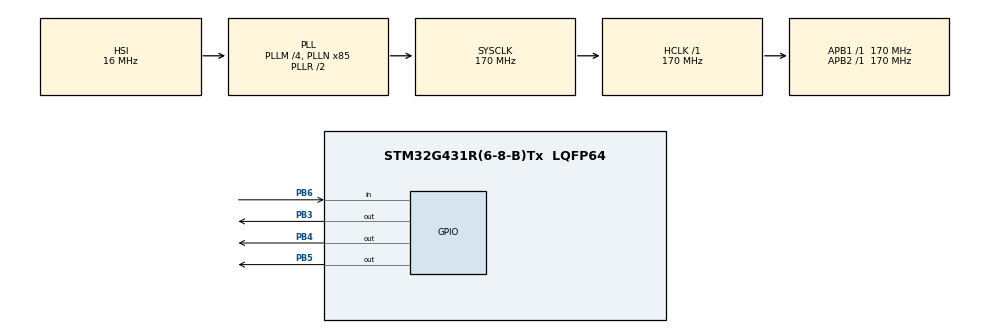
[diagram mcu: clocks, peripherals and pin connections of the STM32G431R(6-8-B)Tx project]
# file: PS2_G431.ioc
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Mcu.Family=STM32G4
Mcu.Name=STM32G431R(6-8-B)Tx
Mcu.Package=LQFP64
NVIC.PriorityGroup=NVIC_PRIORITYGROUP_4
PA13.Mode=Serial_Wire
PA13.Signal=SYS_JTMS-SWDIO
PA14.Mode=Serial_Wire
PA14.Signal=SYS_JTCK-SWCLK
PB3.Signal=GPIO_Output
PB4.Signal=GPIO_Output
PB5.Signal=GPIO_Output
PB6.GPIO_PuPd=GPIO_PULLUP
PB6.Signal=GPIO_Input
PF0-OSC_IN.Mode=HSE-External-Oscillator
PF0-OSC_IN.Signal=RCC_OSC_IN
PF1-OSC_OUT.Mode=HSE-External-Oscillator
PF1-OSC_OUT.Signal=RCC_OSC_OUT
ProjectManager.HeapSize=0x200
ProjectManager.StackSize=0x400
ProjectManager.TargetToolchain=MDK-ARM V5.32
RCC.ADC12Freq_Value=170000000
RCC.AHBFreq_Value=170000000
RCC.APB1Freq_Value=170000000
RCC.APB1TimFreq_Value=170000000
RCC.APB2Freq_Value=170000000
RCC.APB2TimFreq_Value=170000000
RCC.CortexFreq_Value=170000000
RCC.EXTERNAL_CLOCK_VALUE=12288000
RCC.HCLKFreq_Value=170000000
RCC.HSE_VALUE=8000000
RCC.HSI48_VALUE=48000000
RCC.HSI_VALUE=16000000
RCC.LSE_VALUE=32768
RCC.PLLM=RCC_PLLM_DIV4
RCC.PLLN=85
RCC.SYSCLKFreq_VALUE=170000000
RCC.SYSCLKSource=RCC_SYSCLKSOURCE_PLLCLK
RCC.USBFreq_Value=170000000
RCC.VCOOutputFreq_Value=340000000
VP_SYS_VS_DBSignals.Mode=DisableDeadBatterySignals
board=custom

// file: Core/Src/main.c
/* USER CODE BEGIN Header */
/**
  ******************************************************************************
  * @file           : main.c
  * @brief          : Main program body
  ******************************************************************************
  * @attention
  *
  * Copyright (c) 2024 STMicroelectronics.
  * All rights reserved.
  *
  * This software is licensed under terms that can be found in the LICENSE file
  * in the root directory of this software component.
  * If no LICENSE file comes with this software, it is provided AS-IS.
  *
  ******************************************************************************
  */
/* USER CODE END Header */
#include "main.h"
#include "gpio.h"

/* USER CODE BEGIN Includes */

#include "PS2_Get.h"
#include "delay.h"

/* USER CODE END Includes */

void SystemClock_Config(void);

int main(void)
{

  /* MCU Configuration--------------------------------------------------------*/

  /* Reset of all peripherals, Initializes the Flash interface and the Systick. */
  HAL_Init();

  /* Configure the system clock */
  SystemClock_Config();

  /* Initialize all configured peripherals */
  MX_GPIO_Init();

  /* Infinite loop */
  /* USER CODE BEGIN WHILE */
  while (1)
  {
			PS2_DataKey();			/* 实时读取按键数据 */
			PS2_Enable();				/* START键状态判断 */

			if(PS2_Start==1)		/* 按下START键后 */
			{
					PS2_RedLight();
			}

			if(Mode == 2)		/* 红绿灯模式下-->可以读取到摇杆按键值 */
			{
					/* 摇杆值获取 */
					PS2_Data.Rocker_LX=PS2_AnologData(PSS_LX) - 0x80;
					PS2_Data.Rocker_LY= - (PS2_AnologData(PSS_LY) - 0x80);
					if(PS2_Data.Rocker_LY==1) PS2_Data.Rocker_LY=0;										/* 死区限幅 */
					PS2_Data.Rocker_RX=PS2_AnologData(PSS_RX) - 0x80;
					PS2_Data.Rocker_RY= - (PS2_AnologData(PSS_RY) - 0x80);
					if(PS2_Data.Rocker_RY==1) PS2_Data.Rocker_RY=0;										/* 死区限幅 */
			}
			else /* 绿灯模式下-->无法读取到摇杆按键值 */
			{
					/* 摇杆值清零 */
					PS2_Data.Rocker_LX=0;
					PS2_Data.Rocker_LY=0;
					PS2_Data.Rocker_RX=0;
					PS2_Data.Rocker_RY=0;
			}

			HAL_Delay(100);					/* 切记在读取一次数据后进行一定的延时！！ */
    /* USER CODE END WHILE */

  }
}

void SystemClock_Config(void)
{
  RCC_OscInitTypeDef RCC_OscInitStruct = {0};
  RCC_ClkInitTypeDef RCC_ClkInitStruct = {0};

  /** Configure the main internal regulator output voltage
  */
  HAL_PWREx_ControlVoltageScaling(PWR_REGULATOR_VOLTAGE_SCALE1_BOOST);

  /** Initializes the RCC Oscillators according to the specified parameters
  * in the RCC_OscInitTypeDef structure.
  */
  RCC_OscInitStruct.OscillatorType = RCC_OSCILLATORTYPE_HSI;
  RCC_OscInitStruct.HSIState = RCC_HSI_ON;
  RCC_OscInitStruct.HSICalibrationValue = RCC_HSICALIBRATION_DEFAULT;
  RCC_OscInitStruct.PLL.PLLState = RCC_PLL_ON;
  RCC_OscInitStruct.PLL.PLLSource = RCC_PLLSOURCE_HSI;
  RCC_OscInitStruct.PLL.PLLM = RCC_PLLM_DIV4;
  RCC_OscInitStruct.PLL.PLLN = 85;
  RCC_OscInitStruct.PLL.PLLP = RCC_PLLP_DIV2;
  RCC_OscInitStruct.PLL.PLLQ = RCC_PLLQ_DIV2;
  RCC_OscInitStruct.PLL.PLLR = RCC_PLLR_DIV2;
  if (HAL_RCC_OscConfig(&RCC_OscInitStruct) != HAL_OK)
  {
    Error_Handler();
  }

  /** Initializes the CPU, AHB and APB buses clocks
  */
  RCC_ClkInitStruct.ClockType = RCC_CLOCKTYPE_HCLK|RCC_CLOCKTYPE_SYSCLK
                              |RCC_CLOCKTYPE_PCLK1|RCC_CLOCKTYPE_PCLK2;
  RCC_ClkInitStruct.SYSCLKSource = RCC_SYSCLKSOURCE_PLLCLK;
  RCC_ClkInitStruct.AHBCLKDivider = RCC_SYSCLK_DIV1;
  RCC_ClkInitStruct.APB1CLKDivider = RCC_HCLK_DIV1;
  RCC_ClkInitStruct.APB2CLKDivider = RCC_HCLK_DIV1;

  if (HAL_RCC_ClockConfig(&RCC_ClkInitStruct, FLASH_LATENCY_4) != HAL_OK)
  {
    Error_Handler();
  }
}

void Error_Handler(void)
{
  __disable_irq();
  while (1)
  {
  }
}
